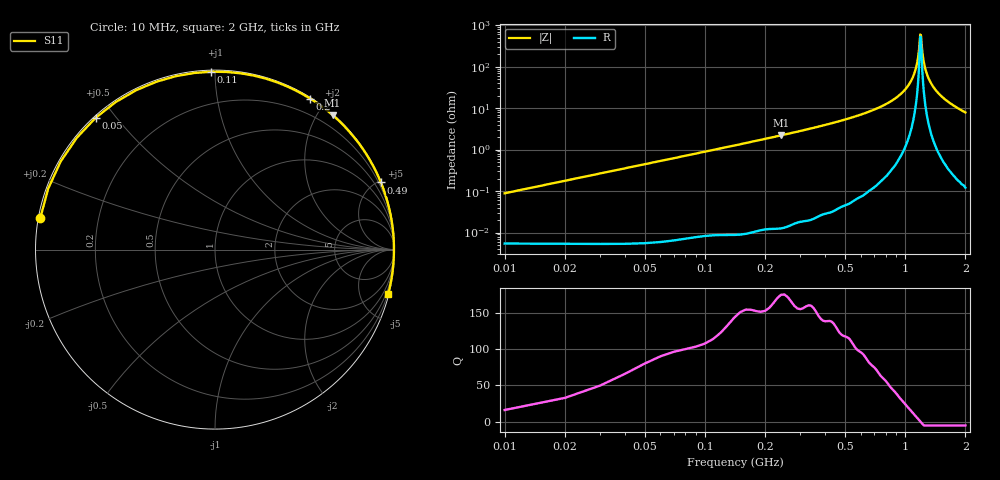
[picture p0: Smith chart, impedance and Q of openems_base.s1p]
! H_s8_cap_2: PDN loop: BGA pin field to a 0402 capacitor 2 mm away
! stackup: 8-layer 1.6 mm FR-4 (generic)
! ports: 1 IC pins
! openEMS 0.37.0, staircase, base mesh (dfine 0.07 mm), 557496 cells
# Hz S RI R 1
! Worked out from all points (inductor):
!   200 points, 10 MHz to 2 GHz, reference 1 ohm
!   read as one part to ground: L = 1.41 nH near 20 MHz
!   highest Q = 171 at 240 MHz (marker M1), where L = 1.46 nH
!   self-resonance near 1.19 GHz
!   S11 on the Smith chart (normalised r, x): 10 MHz: 0.01, +0.09; 50 MHz: 0.01, +0.44; 110 MHz: 0.01, +0.98; 200 MHz: 0.01, +1.81; 490 MHz: 0.04, +5.14; 2 GHz: 0.12, -7.86
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1e7  -0.974 0.1733
2e7  -0.9297 0.3391
3e7  -0.86 0.4907
4e7  -0.7699 0.6232
5e7  -0.6658 0.7338
6e7  -0.5536 0.8218
7e7  -0.4389 0.8882
8e7  -0.3259 0.9355
9e7  -0.2176 0.9664
1.1e8  -0.0209 0.991
1.3e8  0.1463 0.9817
1.5e8  0.2853 0.9518
1.7e8  0.3988 0.9106
2e8  0.5302 0.8413
2.4e8  0.6548 0.7501
2.6e8  0.7015 0.7069
3e8  0.7724 0.6287
3.5e8  0.8342 0.545
4.1e8  0.883 0.4622
4.9e8  0.9241 0.3739
5.1e8  0.9316 0.355
6.3e8  0.9628 0.2594
7.6e8  0.9806 0.1805
1.01e9  0.9949 0.067
1.26e9  0.9968 -0.0219
1.51e9  0.9917 -0.1003
1.76e9  0.9809 -0.1757
2e9  0.9645 -0.2493
